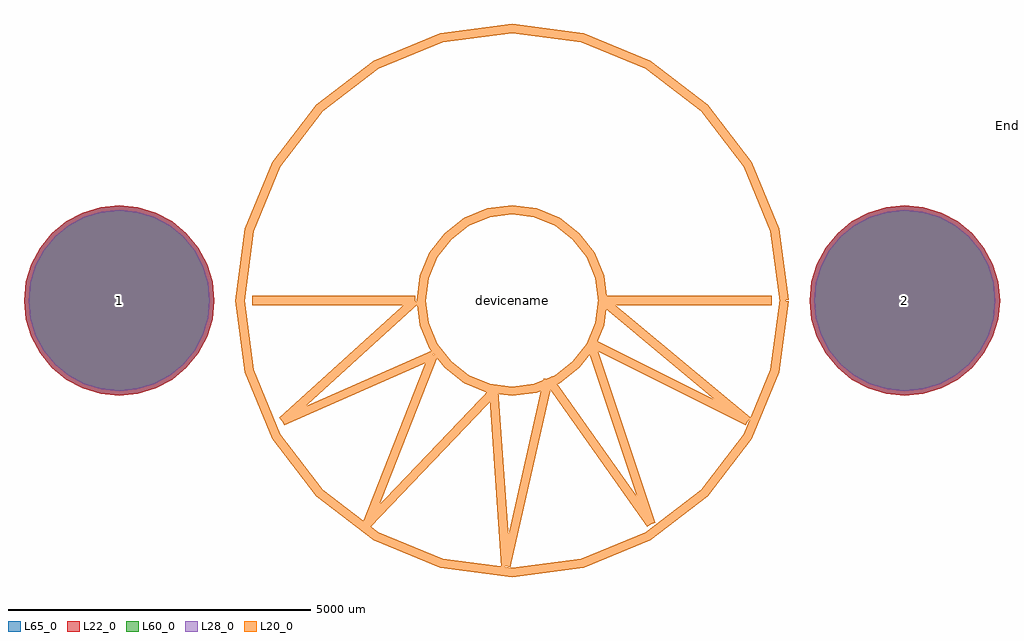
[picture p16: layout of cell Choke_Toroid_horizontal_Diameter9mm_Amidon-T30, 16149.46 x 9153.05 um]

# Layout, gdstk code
import gdstk
lib = gdstk.Library(unit=1e-6, precision=1e-09)
def P(c, l, *ps):  # polygons
    for p in ps: c.add(gdstk.Polygon(p, *l))
L20_0 = (20, 0)
L22_0 = (22, 0)
L28_0 = (28, 0)
L60_0 = (60, 0)
L65_0 = (65, 0)

choke_toroid_horizontal_ = lib.new_cell('Choke_Toroid_horizontal_Diameter9mm_Amidon-T30')
P(choke_toroid_horizontal_, L22_0, [(8074.73,0),(8044.469,307.242),(7954.85,602.677),(7809.317,874.951),(7613.461,1113.601),(7374.811,1309.457),(7102.537,1454.99),(6807.102,1544.609),(6499.86,1574.87),(6192.618,1544.609),(5897.183,1454.99),(5624.909,1309.457),(5386.259,1113.601),(5190.403,874.951),(5044.87,602.677),(4955.251,307.242),(4924.99,0),(4955.251,-307.242),(5044.87,-602.677),(5190.403,-874.951),(5386.259,-1113.601),(5624.909,-1309.457),(5897.183,-1454.99),(6192.618,-1544.609),(6499.86,-1574.87),(6807.102,-1544.609),(7102.537,-1454.99),(7374.811,-1309.457),(7613.461,-1113.601),(7809.317,-874.951),(7954.85,-602.677),(8044.469,-307.242)],
  [(-4924.99,0),(-4955.251,307.242),(-5044.87,602.677),(-5190.403,874.951),(-5386.259,1113.601),(-5624.909,1309.457),(-5897.183,1454.99),(-6192.618,1544.609),(-6499.86,1574.87),(-6807.102,1544.609),(-7102.537,1454.99),(-7374.811,1309.457),(-7613.461,1113.601),(-7809.317,874.951),(-7954.85,602.677),(-8044.469,307.242),(-8074.73,0),(-8044.469,-307.242),(-7954.85,-602.677),(-7809.317,-874.951),(-7613.461,-1113.601),(-7374.811,-1309.457),(-7102.537,-1454.99),(-6807.102,-1544.609),(-6499.86,-1574.87),(-6192.618,-1544.609),(-5897.183,-1454.99),(-5624.909,-1309.457),(-5386.259,-1113.601),(-5190.403,-874.951),(-5044.87,-602.677),(-4955.251,-307.242)])
P(choke_toroid_horizontal_, L28_0, [(7999.73,0),(7970.91,292.61),(7885.559,573.975),(7746.956,833.283),(7560.428,1060.568),(7333.143,1247.096),(7073.835,1385.699),(6792.47,1471.05),(6499.86,1499.87),(6207.25,1471.05),(5925.885,1385.699),(5666.577,1247.096),(5439.292,1060.568),(5252.764,833.283),(5114.161,573.975),(5028.81,292.61),(4999.99,0),(5028.81,-292.61),(5114.161,-573.975),(5252.764,-833.283),(5439.292,-1060.568),(5666.577,-1247.096),(5925.885,-1385.699),(6207.25,-1471.05),(6499.86,-1499.87),(6792.47,-1471.05),(7073.835,-1385.699),(7333.143,-1247.096),(7560.428,-1060.568),(7746.956,-833.283),(7885.559,-573.975),(7970.91,-292.61)],
  [(-4999.99,0),(-5028.81,292.61),(-5114.161,573.975),(-5252.764,833.283),(-5439.292,1060.568),(-5666.577,1247.096),(-5925.885,1385.699),(-6207.25,1471.05),(-6499.86,1499.87),(-6792.47,1471.05),(-7073.835,1385.699),(-7333.143,1247.096),(-7560.428,1060.568),(-7746.956,833.283),(-7885.559,573.975),(-7970.91,292.61),(-7999.73,0),(-7970.91,-292.61),(-7885.559,-573.975),(-7746.956,-833.283),(-7560.428,-1060.568),(-7333.143,-1247.096),(-7073.835,-1385.699),(-6792.47,-1471.05),(-6499.86,-1499.87),(-6207.25,-1471.05),(-5925.885,-1385.699),(-5666.577,-1247.096),(-5439.292,-1060.568),(-5252.764,-833.283),(-5114.161,-573.975),(-5028.81,-292.61)])
P(choke_toroid_horizontal_, L60_0, [(7999.73,0),(7970.91,292.61),(7885.559,573.975),(7746.956,833.283),(7560.428,1060.568),(7333.143,1247.096),(7073.835,1385.699),(6792.47,1471.05),(6499.86,1499.87),(6207.25,1471.05),(5925.885,1385.699),(5666.577,1247.096),(5439.292,1060.568),(5252.764,833.283),(5114.161,573.975),(5028.81,292.61),(4999.99,0),(5028.81,-292.61),(5114.161,-573.975),(5252.764,-833.283),(5439.292,-1060.568),(5666.577,-1247.096),(5925.885,-1385.699),(6207.25,-1471.05),(6499.86,-1499.87),(6792.47,-1471.05),(7073.835,-1385.699),(7333.143,-1247.096),(7560.428,-1060.568),(7746.956,-833.283),(7885.559,-573.975),(7970.91,-292.61)],
  [(-4999.99,0),(-5028.81,292.61),(-5114.161,573.975),(-5252.764,833.283),(-5439.292,1060.568),(-5666.577,1247.096),(-5925.885,1385.699),(-6207.25,1471.05),(-6499.86,1499.87),(-6792.47,1471.05),(-7073.835,1385.699),(-7333.143,1247.096),(-7560.428,1060.568),(-7746.956,833.283),(-7885.559,573.975),(-7970.91,292.61),(-7999.73,0),(-7970.91,-292.61),(-7885.559,-573.975),(-7746.956,-833.283),(-7560.428,-1060.568),(-7333.143,-1247.096),(-7073.835,-1385.699),(-6792.47,-1471.05),(-6499.86,-1499.87),(-6207.25,-1471.05),(-5925.885,-1385.699),(-5666.577,-1247.096),(-5439.292,-1060.568),(-5252.764,-833.283),(-5114.161,-573.975),(-5028.81,-292.61)])
P(choke_toroid_horizontal_, L65_0, [(8074.73,0),(8044.469,307.242),(7954.85,602.677),(7809.317,874.951),(7613.461,1113.601),(7374.811,1309.457),(7102.537,1454.99),(6807.102,1544.609),(6499.86,1574.87),(6192.618,1544.609),(5897.183,1454.99),(5624.909,1309.457),(5386.259,1113.601),(5190.403,874.951),(5044.87,602.677),(4955.251,307.242),(4924.99,0),(4955.251,-307.242),(5044.87,-602.677),(5190.403,-874.951),(5386.259,-1113.601),(5624.909,-1309.457),(5897.183,-1454.99),(6192.618,-1544.609),(6499.86,-1574.87),(6807.102,-1544.609),(7102.537,-1454.99),(7374.811,-1309.457),(7613.461,-1113.601),(7809.317,-874.951),(7954.85,-602.677),(8044.469,-307.242)],
  [(-4924.99,0),(-4955.251,307.242),(-5044.87,602.677),(-5190.403,874.951),(-5386.259,1113.601),(-5624.909,1309.457),(-5897.183,1454.99),(-6192.618,1544.609),(-6499.86,1574.87),(-6807.102,1544.609),(-7102.537,1454.99),(-7374.811,1309.457),(-7613.461,1113.601),(-7809.317,874.951),(-7954.85,602.677),(-8044.469,307.242),(-8074.73,0),(-8044.469,-307.242),(-7954.85,-602.677),(-7809.317,-874.951),(-7613.461,-1113.601),(-7374.811,-1309.457),(-7102.537,-1454.99),(-6807.102,-1544.609),(-6499.86,-1574.87),(-6192.618,-1544.609),(-5897.183,-1454.99),(-5624.909,-1309.457),(-5386.259,-1113.601),(-5190.403,-874.951),(-5044.87,-602.677),(-4955.251,-307.242)])
choke_toroid_horizontal_.add(gdstk.FlexPath([(4500.88,0),(4347.516,1164.913),(3897.876,2250.44),(3182.603,3182.603),(2250.44,3897.876),(1164.913,4347.516),(0,4500.88),(-1164.913,4347.516),(-2250.44,3897.876),(-3182.603,3182.603),(-3897.876,2250.44),(-4347.516,1164.913),(-4500.88,0),(-4347.516,-1164.913),(-3897.876,-2250.44),(-3182.603,-3182.603),(-2250.44,-3897.876),(-1164.913,-4347.516),(0,-4500.88),(1164.913,-4347.516),(2250.44,-3897.876),(3182.603,-3182.603),(3897.876,-2250.44),(4347.516,-1164.913),(4500.88,0)], 149.998, ends="flush", simple_path=True, layer=20, datatype=0))  # L20_0
choke_toroid_horizontal_.add(gdstk.FlexPath([(1501.14,0),(1449.99,388.524),(1300.025,750.57),(1061.466,1061.466),(750.57,1300.025),(388.524,1449.99),(0,1501.14),(-388.524,1449.99),(-750.57,1300.025),(-1061.466,1061.466),(-1300.025,750.57),(-1449.99,388.524),(-1501.14,0),(-1449.99,-388.524),(-1300.025,-750.57),(-1061.466,-1061.466),(-750.57,-1300.025),(-388.524,-1449.99),(0,-1501.14),(388.524,-1449.99),(750.57,-1300.025),(1061.466,-1061.466),(1300.025,-750.57),(1449.99,-388.524),(1501.14,0)], 149.998, ends="flush", simple_path=True, layer=20, datatype=0))  # L20_0
choke_toroid_horizontal_.add(gdstk.FlexPath([(1501.14,0),(4300.22,0)], 149.998, ends="flush", simple_path=True, layer=20, datatype=0))  # L20_0
choke_toroid_horizontal_.add(gdstk.FlexPath([(3898.9,-1998.98),(1501.14,0)], 149.998, ends="flush", simple_path=True, layer=20, datatype=0))  # L20_0
choke_toroid_horizontal_.add(gdstk.FlexPath([(1300.48,-701.04),(3898.9,-1998.98)], 149.998, ends="flush", simple_path=True, layer=20, datatype=0))  # L20_0
choke_toroid_horizontal_.add(gdstk.FlexPath([(2301.24,-3700.78),(1300.48,-701.04)], 149.998, ends="flush", simple_path=True, layer=20, datatype=0))  # L20_0
choke_toroid_horizontal_.add(gdstk.FlexPath([(599.44,-1300.48),(2301.24,-3700.78)], 149.998, ends="flush", simple_path=True, layer=20, datatype=0))  # L20_0
choke_toroid_horizontal_.add(gdstk.FlexPath([(-99.06,-4399.28),(599.44,-1300.48)], 149.998, ends="flush", simple_path=True, layer=20, datatype=0))  # L20_0
choke_toroid_horizontal_.add(gdstk.FlexPath([(-299.72,-1501.14),(-99.06,-4399.28)], 149.998, ends="flush", simple_path=True, layer=20, datatype=0))  # L20_0
choke_toroid_horizontal_.add(gdstk.FlexPath([(-2400.3,-3700.78),(-299.72,-1501.14)], 149.998, ends="flush", simple_path=True, layer=20, datatype=0))  # L20_0
choke_toroid_horizontal_.add(gdstk.FlexPath([(-1300.48,-899.16),(-2400.3,-3700.78)], 149.998, ends="flush", simple_path=True, layer=20, datatype=0))  # L20_0
choke_toroid_horizontal_.add(gdstk.FlexPath([(-3799.84,-1998.98),(-1300.48,-899.16)], 149.998, ends="flush", simple_path=True, layer=20, datatype=0))  # L20_0
choke_toroid_horizontal_.add(gdstk.FlexPath([(-1600.2,0),(-3799.84,-1998.98)], 149.998, ends="flush", simple_path=True, layer=20, datatype=0))  # L20_0
choke_toroid_horizontal_.add(gdstk.FlexPath([(-4300.22,0),(-1600.2,0)], 149.998, ends="flush", simple_path=True, layer=20, datatype=0))  # L20_0
choke_toroid_horizontal_.add(gdstk.Label('2', (6499.86,0), layer=28, texttype=0))
choke_toroid_horizontal_.add(gdstk.Label('1', (-6499.86,0), layer=28, texttype=0))
choke_toroid_horizontal_.add(gdstk.Label('Start', (-8600.44,2900.68), layer=9, texttype=0))
choke_toroid_horizontal_.add(gdstk.Label('End', (8199.12,2900.68), layer=9, texttype=0))
choke_toroid_horizontal_.add(gdstk.Label('type', (0,-6350), layer=9, texttype=0))
choke_toroid_horizontal_.add(gdstk.Label('devicename', (0,0), layer=9, texttype=0))

lib.write_gds('Choke_Toroid_horizontal_Diameter9mm_Amidon-T30.gds')
